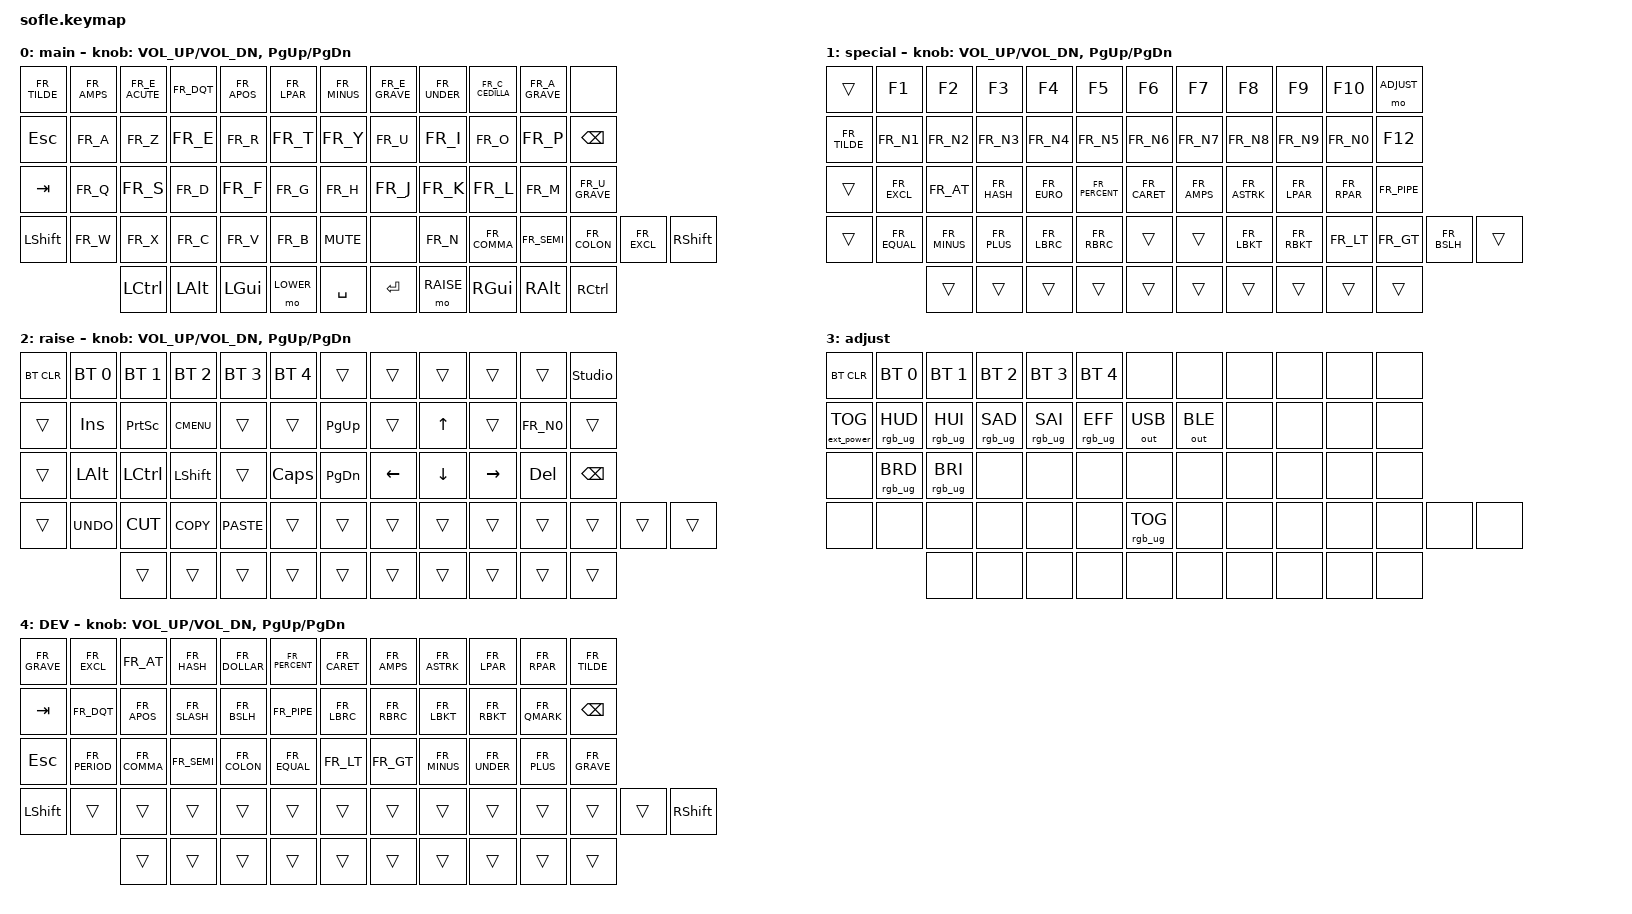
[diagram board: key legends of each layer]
/*
 * Copyright (c) 2020 The ZMK Contributors
 *
 * SPDX-License-Identifier: MIT
 *
 * Configuration: AZERTY French Layout for Sofle Keyboard
 */

#include <behaviors.dtsi>
#include <dt-bindings/zmk/keys.h>
#include <dt-bindings/zmk/bt.h>
#include <dt-bindings/zmk/rgb.h>
#include <dt-bindings/zmk/ext_power.h>
#include <dt-bindings/zmk/outputs.h>
#include <locale/keys_fr.h>

#define BASE 0
#define LOWER 1
#define RAISE 2
#define ADJUST 3
#define DEV 4

/ {
    conditional_layers {
        compatible = "zmk,conditional-layers";
        dev_conditional {
            if-layers = <LOWER RAISE>;
            then-layer = <DEV>;
        };
    };

    keymap {
        compatible = "zmk,keymap";

        default_layer {
            display-name = "main";
            // ~                  &                  é                  "                  '                  (                  | -                  è                  _                  ç                  à                  ---
            // ESC                A                  Z                  E                  R                  T                  | Y                  U                  I                  O                  P                  BSPC
            // TAB                Q                  S                  D                  F                  G                  | H                  J                  K                  L                  M                  ù
            // LSHFT              W                  X                  C                  V                  B                  MUTE               | ---                N                  ,                  ;                  :                  !                  RSHFT
            //                                     LCTRL              LALT               LGUI               LOWER              SPACE              | RET                RAISE              RGUI               RALT               RCTRL
            bindings = <
                &kp FR_TILDE       &kp FR_AMPS        &kp FR_E_ACUTE     &kp FR_DQT         &kp FR_APOS        &kp FR_LPAR          &kp FR_MINUS       &kp FR_E_GRAVE     &kp FR_UNDER       &kp FR_C_CEDILLA   &kp FR_A_GRAVE     &none
                &kp ESC            &kp FR_A           &kp FR_Z           &kp FR_E           &kp FR_R           &kp FR_T             &kp FR_Y           &kp FR_U           &kp FR_I           &kp FR_O           &kp FR_P           &kp BSPC
                &kp TAB            &kp FR_Q           &kp FR_S           &kp FR_D           &kp FR_F           &kp FR_G             &kp FR_H           &kp FR_J           &kp FR_K           &kp FR_L           &kp FR_M           &kp FR_U_GRAVE
                &kp LSHFT          &kp FR_W           &kp FR_X           &kp FR_C           &kp FR_V           &kp FR_B           &kp C_MUTE           &none              &kp FR_N           &kp FR_COMMA       &kp FR_SEMI        &kp FR_COLON       &kp FR_EXCL        &kp RSHFT
                                                    &kp LCTRL          &kp LALT           &kp LGUI           &mo LOWER          &kp SPACE            &kp RET            &mo RAISE          &kp RGUI           &kp RALT           &kp RCTRL
            >;

            sensor-bindings = <&inc_dec_kp C_VOL_UP C_VOL_DN &inc_dec_kp PG_UP PG_DN>;
        };

        lower_layer {
            display-name = "special";
            // TRNS               F1                 F2                 F3                 F4                 F5                 | F6                 F7                 F8                 F9                 F10                ADJUST
            // ~                  1                  2                  3                  4                  5                  | 6                  7                  8                  9                  0                  F12
            // TRNS               !                  @                  #                  €                  %                  | ^                  &                  *                  (                  )                  |
            // TRNS               =                  -                  +                  {                  }                  TRNS               | TRNS               [                  ]                  <                  >                  \                  TRNS
            //                                     TRNS               TRNS               TRNS               TRNS               TRNS               | TRNS               TRNS               TRNS               TRNS               TRNS
            bindings = <
                &trans             &kp F1             &kp F2             &kp F3             &kp F4             &kp F5               &kp F6             &kp F7             &kp F8             &kp F9             &kp F10            &mo ADJUST
                &kp FR_TILDE       &kp FR_N1          &kp FR_N2          &kp FR_N3          &kp FR_N4          &kp FR_N5            &kp FR_N6          &kp FR_N7          &kp FR_N8          &kp FR_N9          &kp FR_N0          &kp F12
                &trans             &kp FR_EXCL        &kp FR_AT          &kp FR_HASH        &kp FR_EURO        &kp FR_PERCENT       &kp FR_CARET       &kp FR_AMPS        &kp FR_ASTRK       &kp FR_LPAR        &kp FR_RPAR        &kp FR_PIPE
                &trans             &kp FR_EQUAL       &kp FR_MINUS       &kp FR_PLUS        &kp FR_LBRC        &kp FR_RBRC        &trans               &trans             &kp FR_LBKT        &kp FR_RBKT        &kp FR_LT          &kp FR_GT          &kp FR_BSLH        &trans
                                                    &trans             &trans             &trans             &trans             &trans               &trans             &trans             &trans             &trans             &trans
            >;

            sensor-bindings = <&inc_dec_kp C_VOL_UP C_VOL_DN &inc_dec_kp PG_UP PG_DN>;
        };

        raise_layer {
            display-name = "raise";
            // BT_CLR             BT1                BT2                BT3                BT4                BT5                | TRNS               TRNS               TRNS               TRNS               TRNS               UNLOCK
            // TRNS               INS                PSCRN              MENU               TRNS               TRNS               | PG_UP              TRNS               UP                 TRNS               0                  TRNS
            // TRNS               LALT               LCTRL              LSHFT              TRNS               CLCK               | PG_DN              LEFT               DOWN               RIGHT              DEL                BSPC
            // TRNS               UNDO               CUT                COPY               PASTE              TRNS               TRNS               | TRNS               TRNS               TRNS               TRNS               TRNS               TRNS               TRNS
            //                                     TRNS               TRNS               TRNS               TRNS               TRNS               | TRNS               TRNS               TRNS               TRNS               TRNS
            bindings = <
                &bt BT_CLR         &bt BT_SEL 0       &bt BT_SEL 1       &bt BT_SEL 2       &bt BT_SEL 3       &bt BT_SEL 4         &trans             &trans             &trans             &trans             &trans             &studio_unlock
                &trans             &kp INS            &kp PSCRN          &kp K_CMENU        &trans             &trans               &kp PG_UP          &trans             &kp UP             &trans             &kp FR_N0          &trans
                &trans             &kp LALT           &kp LCTRL          &kp LSHFT          &trans             &kp CLCK             &kp PG_DN          &kp LEFT           &kp DOWN           &kp RIGHT          &kp DEL            &kp BSPC
                &trans             &kp K_UNDO         &kp K_CUT          &kp K_COPY         &kp K_PASTE        &trans             &trans               &trans             &trans             &trans             &trans             &trans             &trans             &trans
                                                    &trans             &trans             &trans             &trans             &trans               &trans             &trans             &trans             &trans             &trans
            >;

            sensor-bindings = <&inc_dec_kp C_VOL_UP C_VOL_DN &inc_dec_kp PG_UP PG_DN>;
        };


        adjust_layer {
            display-name = "adjust";
            // BT_CLR             BT1                BT2                BT3                BT4                BT5                | ---                ---                ---                ---                ---                ---
            // POWER              RGB_HUD            RGB_HUI            RGB_SAD            RGB_SAI            RGB_EFF            | USB                BLE                ---                ---                ---                ---
            // ---                RGB_BRD            RGB_BRI            ---                ---                ---                | ---                ---                ---                ---                ---                ---
            // ---                ---                ---                ---                ---                ---                RGB_TOG            | ---                ---                ---                ---                ---                ---                ---
            //                                     ---                ---                ---                ---                ---                | ---                ---                ---                ---                ---
            bindings = <
                &bt BT_CLR         &bt BT_SEL 0       &bt BT_SEL 1       &bt BT_SEL 2       &bt BT_SEL 3       &bt BT_SEL 4         &none              &none              &none              &none              &none              &none
                &ext_power EP_TOG  &rgb_ug RGB_HUD    &rgb_ug RGB_HUI    &rgb_ug RGB_SAD    &rgb_ug RGB_SAI    &rgb_ug RGB_EFF      &out OUT_USB       &out OUT_BLE       &none              &none              &none              &none
                &none              &rgb_ug RGB_BRD    &rgb_ug RGB_BRI    &none              &none              &none                &none              &none              &none              &none              &none              &none
                &none              &none              &none              &none              &none              &none              &rgb_ug RGB_TOG      &none              &none              &none              &none              &none              &none              &none
                                                    &none              &none              &none              &none              &none                &none              &none              &none              &none              &none
            >;
        };

        dev_layer {
            display-name = "DEV";
            // `                  !                  @                  #                  $                  %                  | ^                  &                  *                  (                  )                  ~
            // TAB                "                  '                  /                  \                  |                  | {                  }                  [                  ]                  ?                  BSPC
            // ESC                .                  ,                  ;                  :                  =                  | <                  >                  -                  _                  +                  `
            // LSHFT              TRNS               TRNS               TRNS               TRNS               TRNS               TRNS               | TRNS               TRNS               TRNS               TRNS               TRNS               TRNS               RSHFT
            //                                     TRNS               TRNS               TRNS               TRNS               TRNS               | TRNS               TRNS               TRNS               TRNS               TRNS
            bindings = <
                &kp FR_GRAVE       &kp FR_EXCL        &kp FR_AT          &kp FR_HASH        &kp FR_DOLLAR      &kp FR_PERCENT       &kp FR_CARET       &kp FR_AMPS        &kp FR_ASTRK       &kp FR_LPAR        &kp FR_RPAR        &kp FR_TILDE
                &kp TAB            &kp FR_DQT         &kp FR_APOS        &kp FR_SLASH       &kp FR_BSLH        &kp FR_PIPE          &kp FR_LBRC        &kp FR_RBRC        &kp FR_LBKT        &kp FR_RBKT        &kp FR_QMARK       &kp BSPC
                &kp ESC            &kp FR_PERIOD      &kp FR_COMMA       &kp FR_SEMI        &kp FR_COLON       &kp FR_EQUAL         &kp FR_LT          &kp FR_GT          &kp FR_MINUS       &kp FR_UNDER       &kp FR_PLUS        &kp FR_GRAVE
                &kp LSHFT          &trans             &trans             &trans             &trans             &trans             &trans               &trans             &trans             &trans             &trans             &trans             &trans             &kp RSHFT
                                                    &trans             &trans             &trans             &trans             &trans               &trans             &trans             &trans             &trans             &trans
            >;

            sensor-bindings = <&inc_dec_kp C_VOL_UP C_VOL_DN &inc_dec_kp PG_UP PG_DN>;
        };
    };
};
